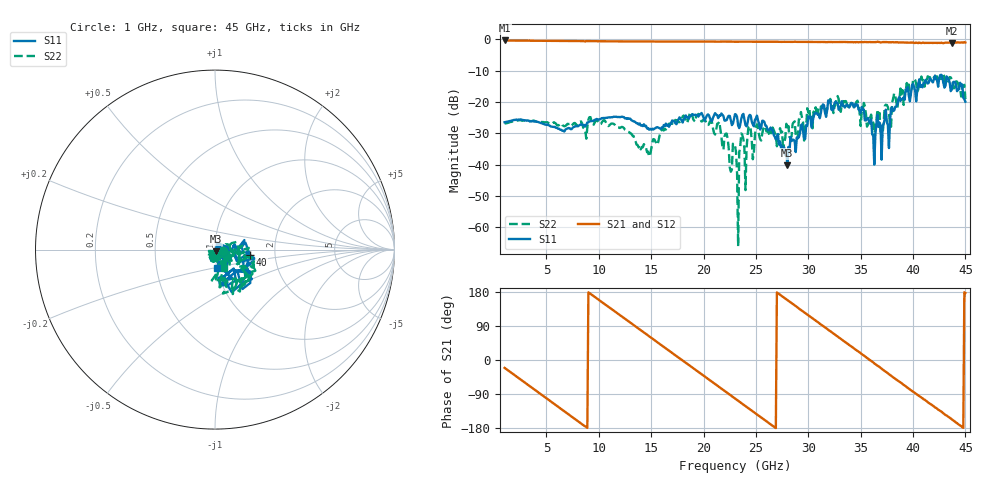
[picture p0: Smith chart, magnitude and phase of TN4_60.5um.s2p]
!Keysight Technologies,N5247B,MY61255062,A.19.80.06
!Date: Monday, May 18, 2026 12:55:27
!Correction: S11(Cdelta 2-Port  )
!S21(Cdelta 2-Port  )
!S12(Cdelta 2-Port  )
!S22(Cdelta 2-Port  )
!S2P File: Measurements: S11, S21, S12, S22:
# Hz S  dB  R 50
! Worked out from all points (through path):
!   441 points, 1 GHz to 45 GHz, reference 50 ohm
!   highest |S21| = -0.41 dB at 1 GHz (marker M1); lowest = -1.3 dB at 43.7 GHz (marker M2)
!   group delay of S21, straight-line fit = 55.7 ps
!   lowest |S11| = -40.2 dB at 28 GHz (marker M3), VSWR 1.02, Z = 50.3 - j0.93 ohm
!   |S11| at or under -10 dB: start of sweep to end of sweep
!   |S22| runs from -66.0 to -11.3 dB; largest |S21 - S12| = 0.015
!   S11 on the Smith chart (normalised r, x): 1 GHz: 1.10, -0.02; 40 GHz: 1.48, -0.09; 45 GHz: 1.00, -0.20
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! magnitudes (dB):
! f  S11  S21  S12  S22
! 1 GHz  -26.5  -0.4  -0.4  -26.8
! 8.4 GHz  -27.3  -0.6  -0.6  -26.8
! 12.3 GHz  -24.8  -0.7  -0.7  -28.1
! 14.8 GHz  -28.8  -0.7  -0.7  -37.4
! 15.7 GHz  -28.2  -0.7  -0.7  -32.3
! 18.8 GHz  -24.4  -0.8  -0.8  -23.2
! 21.4 GHz  -25.2  -0.8  -0.8  -26.9
! 22.5 GHz  -24.5  -0.8  -0.8  -40.9
! 23 GHz  -23.9  -0.8  -0.8  -33.9
! 23.1 GHz  -24.0  -0.8  -0.8  -36.0
! 23.3 GHz  -27.6  -0.8  -0.8  -66.0
! 23.6 GHz  -25.3  -0.8  -0.8  -30.0
! 24 GHz  -27.4  -0.8  -0.8  -48.1
! 24.4 GHz  -24.1  -0.8  -0.8  -27.6
! 28 GHz  -40.2  -0.9  -0.9  -28.9
! 30.4 GHz  -26.5  -0.9  -0.9  -28.4
! 34.3 GHz  -21.4  -1.0  -0.9  -21.1
! 36.3 GHz  -40.0  -0.9  -0.9  -31.9
! 37.7 GHz  -34.7  -1.0  -1.0  -23.5
! 40 GHz  -14.2  -1.1  -1.1  -13.0
! 43.7 GHz  -16.1  -1.3  -1.2  -12.9
! 45 GHz  -19.9  -1.1  -1.0  -19.1
